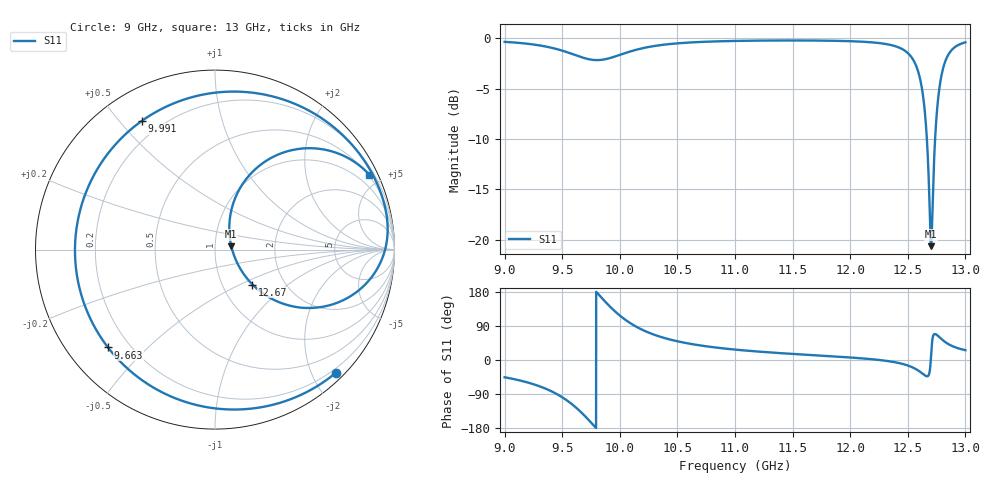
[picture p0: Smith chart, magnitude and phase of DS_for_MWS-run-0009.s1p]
! TOUCHSTONE file generated by CST DESIGN STUDIO
! Date and time: Tue Feb  4 18:17:06 2025
! Project name: C:\Work\MatlabApps\UnitCellOptimizationMatlab\CST\unitcell.cst
! Tree item: Tasks\Sweep1\SPara1\S-Parameters
! Header version: 2024
! Port assignment regex: !\s*Touchstone port\s*([0-9]+)\s*=\s*(CST MWS port|CST DES external port|CST DES block port)\s*(.+)\s* \(\"(.*)\"\)(\s*mode\s*([0-9]+))?.*
! Touchstone port assignment:
! Touchstone port 1 = CST DES external port 1 ("")
# GHz S MA R 50
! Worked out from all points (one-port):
!   4001 points, 9 GHz to 13 GHz, reference 50 ohm
!   lowest |S11| = -20.6 dB at 12.7 GHz (marker M1), VSWR 1.20, Z = 59.9 + j2.34 ohm
!   |S11| at or under -10 dB: 12.67 GHz to 12.74 GHz (71.29 MHz wide, 0.561 % of centre)
!   S11 on the Smith chart (normalised r, x): 9 GHz: 0.13, -2.38; 9.663 GHz: 0.12, -0.38; 9.991 GHz: 0.13, +0.57; 12.67 GHz: 1.38, -0.59; 13 GHz: 0.45, +4.30
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9  0.9613 -45.6
9.272  0.9289 -66.0
9.5  0.8693 -98.3
9.584  0.8378 -116.5
9.663  0.8079 -137.6
9.745  0.7853 -163.2
9.818  0.7805 172.2
9.91  0.7972 142.4
9.991  0.8248 119.6
10  0.8282 117.4
10.106  0.8664 94.4
10.241  0.9044 73.5
10.5  0.945 49.4
11  0.9714 27.5
11.5  0.9768 16.0
12  0.9685 6.6
12.334  0.9322 -3.1
12.5  0.8459 -14.5
12.613  0.605 -32.5
12.646  0.4436 -40.1
12.67  0.2854 -43.0
12.689  0.1481 -32.0
12.702  0.0928 12.0
12.715  0.1475 57.4
12.752  0.4272 66.2
12.794  0.6617 54.8
12.882  0.8767 37.3
13  0.9557 25.9
